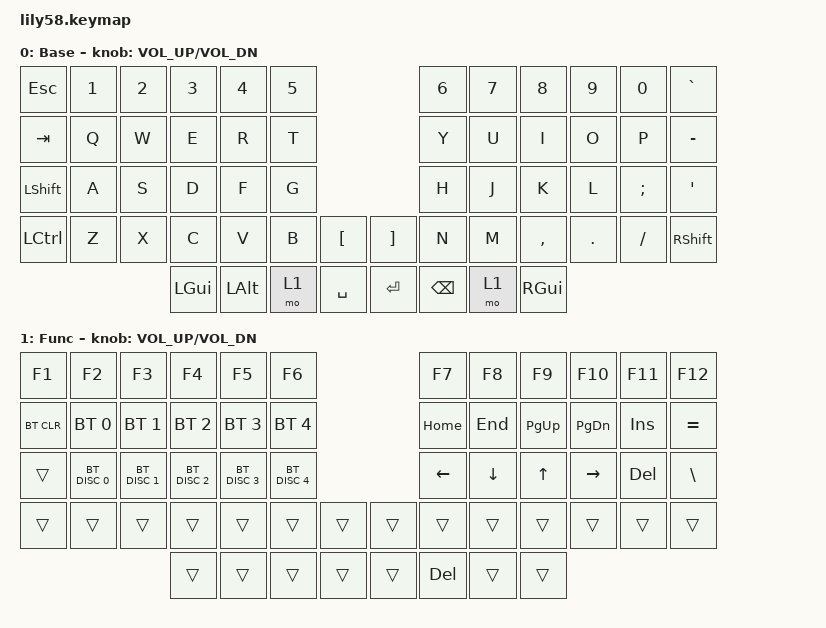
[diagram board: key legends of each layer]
/*
 * Copyright (c) 2020 The ZMK Contributors
 *
 * SPDX-License-Identifier: MIT
 */

#include <behaviors.dtsi>
#include <dt-bindings/zmk/keys.h>
#include <dt-bindings/zmk/bt.h>
#include <dt-bindings/zmk/ext_power.h>

/ {
    keymap {
        compatible = "zmk,keymap";

        default_layer {
// ------------------------------------------------------------------------------------------------------------
// |  ESC  |  1  |  2  |  3   |  4   |  5   |                   |  6   |  7    |  8    |  9   |   0   |   `   |
// |  TAB  |  Q  |  W  |  E   |  R   |  T   |                   |  Y   |  U    |  I    |  O   |   P   |   -   |
// | SHIFT |  A  |  S  |  D   |  F   |  G   |                   |  H   |  J    |  K    |  L   |   ;   |   '   |
// |  CTRL |  Z  |  X  |  C   |  V   |  B   |   "["  |  |  "]"  |  N   |  M    |  ,    |  .   |   /   | SHIFT |
//                     | GUI  | ALT  | FUNC |  SPACE |  | ENTER | BSPC | FUNC  | GUI   |
            display-name = "Base";
            bindings = <
&kp ESC   &kp N1 &kp N2 &kp N3   &kp N4   &kp N5                     &kp N6 &kp N7   &kp N8    &kp N9  &kp N0   &kp GRAVE
&kp TAB   &kp Q  &kp W  &kp E    &kp R    &kp T                      &kp Y  &kp U    &kp I     &kp O   &kp P    &kp MINUS
&kp LSHFT &kp A  &kp S  &kp D    &kp F    &kp G                      &kp H  &kp J    &kp K     &kp L   &kp SEMI &kp SQT
&kp LCTRL &kp Z  &kp X  &kp C    &kp V    &kp B  &kp LBKT   &kp RBKT &kp N  &kp M    &kp COMMA &kp DOT &kp FSLH &kp RSHFT
                        &kp LGUI &kp LALT &mo 1  &kp SPACE  &kp RET  &kp BSPC &mo 1  &kp RGUI
            >;

            sensor-bindings = <&inc_dec_kp C_VOL_UP C_VOL_DN>;
        };

        func_layer {
// ------------------------------------------------------------------------------------------------------------
// |  F1   | F2  | F3  |  F4  |  F5  |  F6  |                   |  F7  |  F8   |  F9   |  F10 |  F11  |  F12  |
// | BTCLR | BT0 | BT1 |  BT2 |  BT3 |  BT4 |                   | HOME |  END  | PGUP  | PGDN |  INST |   =   |
// |       |DCBT0|DCBT1| DCBT2|DCBT3 |DCBT4 |                   |  <-  |   v   |   ^   |  ->  |  DEL  |   \   |
// |       |     |     |      |      |      |        |  |       |      |       |       |      |       |       |
//                     |      |      | (act)|        |  |       |      |  DEL  | (act) |
            display-name = "Func";
            bindings = <
&kp F1     &kp F2           &kp F3            &kp F4            &kp F5       &kp F6                       &kp F7    &kp F8    &kp F9    &kp F10   &kp F11   &kp F12
&bt BT_CLR &bt BT_SEL 0     &bt BT_SEL 1      &bt BT_SEL 2      &bt BT_SEL 3 &bt BT_SEL 4                 &kp HOME  &kp END   &kp PG_UP &kp PG_DN &kp INS   &kp EQUAL
&trans     &bt BT_DISC 0    &bt BT_DISC 1     &bt BT_DISC 2     &bt BT_DISC 3 &bt BT_DISC 4               &kp LEFT  &kp DOWN  &kp UP    &kp RIGHT &kp DEL   &kp BSLH
&trans     &trans           &trans            &trans            &trans       &trans    &trans   &trans    &trans    &trans    &trans    &trans    &trans    &trans
                                              &trans            &trans       &trans    &trans   &trans    &kp DEL   &trans    &trans
            >;

            sensor-bindings = <&inc_dec_kp C_VOL_UP C_VOL_DN>;
        };
    };
};
